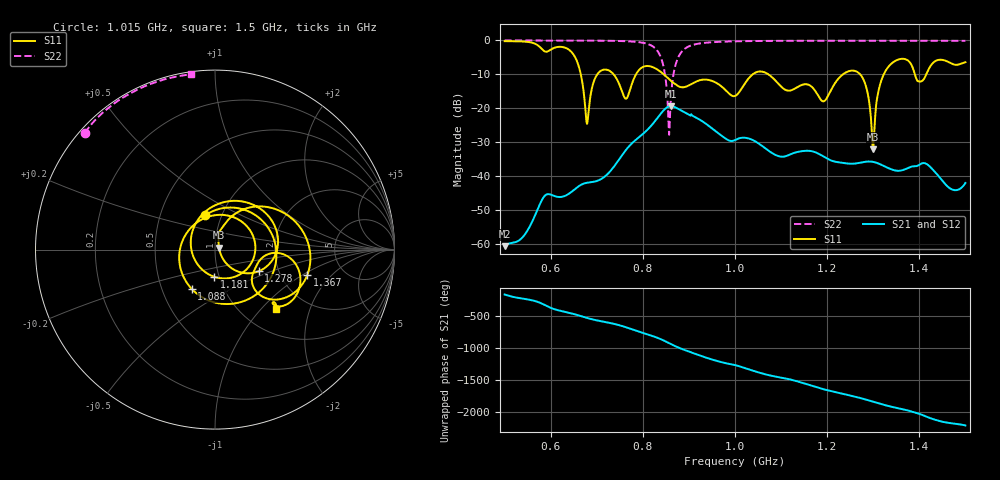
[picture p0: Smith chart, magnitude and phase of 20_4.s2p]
! TOUCHSTONE file generated by CST MICROWAVE STUDIO
! Date and time: Sat Nov 14 20:00:55 2020
! Project name: Scenario_1_Planar_Body_Tissue_Out_of_Line.cst
! Parameters = {dy1=17.3; L_HA=400; Ltissue=700; MT=2.54; Rad_Dielectric=30; Rad_Lower=7.3; Rad_Upper=30; Wtissue=700; a_HA=580; a_WG=246; b_HA=500; b_WG=121; c_HA=0; c_WG=187; d_feed=85; dx1=693; h_feed=15; h_lower=18; h_upper=40; hfat=3; hgap=25; hmuscle=50; hskin=1.5}
! Header version: 2018
! Port assignment regex: !\s*Touchstone port\s*([0-9]+)\s*=\s*(CST MWS port|CST DS port)\s*([0-9]+|Zmin|Zmax)\s*\(\"(.*)\"\)(\s*mode\s*([0-9]+))?.*
! Touchstone port assignment:
! Touchstone port 1 = CST MWS port 1 ("")
! Touchstone port 2 = CST MWS port 2 ("")
# GHz S DB R 50
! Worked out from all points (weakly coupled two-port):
!   1003 points, 500 MHz to 1.5 GHz, reference 50 ohm
!   highest |S21| = -19.42 dB at 861 MHz (marker M1); lowest = -60.7 dB at 500 MHz (marker M2)
!   lowest |S11| = -32.1 dB at 1.3 GHz (marker M3), VSWR 1.05, Z = 52.3 + j1.14 ohm
!   |S11| at or under -10 dB: 845.2 MHz to 1.039 GHz (193.3 MHz wide, 20.5 % of centre); 1.072 GHz to 1.234 GHz (162.3 MHz wide, 14.1 % of centre); 1.272 GHz to 1.323 GHz (51.39 MHz wide, 3.96 % of centre)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
!   |S22| runs from -27.8 to 0.0 dB; largest |S21 - S12| = 0.00081
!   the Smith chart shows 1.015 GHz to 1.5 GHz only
!   S11 on the Smith chart (normalised r, x): 1.015 GHz: 0.84, +0.33; 1.088 GHz: 0.71, -0.33; 1.181 GHz: 0.95, -0.29; 1.278 GHz: 1.58, -0.41; 1.367 GHz: 2.81, -1.10; 1.5 GHz: 1.41, -1.22
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0.5  -0.21 -121.5  -60.75 -170.2  -60.75 -170.2  -0.01 151.1
0.622  -1.89 173.1  -46.22 -65.8  -46.22 -65.8  -0.03 142.4
0.667  -11.13 96.4  -42.55 -150.3  -42.55 -150.3  -0.04 138.3
0.679  -24.65 148.0  -42.02 -176.3  -42.02 -176.3  -0.05 137.1
0.709  -8.95 161.3  -40.97 133.6  -40.97 133.6  -0.08 133.7
0.777  -12.54 -120.7  -30.29 5.8  -30.29 5.8  -0.32 121.0
0.834  -8.82 58.3  -22.49 -132.3  -22.49 -132.3  -3.57 82.5
0.861  -11.94 -26.3  -19.42 135.7  -19.42 135.7  -16.76 -129.4
0.888  -13.83 -134.8  -21.05 50.9  -21.05 50.9  -2.81 177.6
0.95  -11.95 4.9  -25.96 -104.9  -25.96 -104.9  -0.53 148.6
1  -16.40 176.5  -29.42 168.4  -29.42 168.4  -0.25 140.0
1.015  -14.07 106.2  -28.73 136.7  -28.73 136.7  -0.23 138.1
1.05  -9.23 -8.8  -30.30 55.6  -30.30 55.6  -0.17 134.3
1.088  -11.89 -120.6  -33.82 -11.5  -33.82 -11.5  -0.13 130.7
1.167  -13.75 -34.3  -32.72 -155.4  -32.72 -155.4  -0.09 124.1
1.181  -16.41 -91.9  -33.43 173.3  -33.43 173.3  -0.09 123.0
1.228  -10.77 69.8  -36.03 90.0  -36.03 90.0  -0.09 119.4
1.278  -11.34 -26.5  -35.93 2.2  -35.93 2.2  -0.08 115.7
1.3  -32.13 26.3  -35.87 -45.2  -35.87 -45.2  -0.08 114.0
1.334  -7.61 31.8  -37.76 -113.2  -37.76 -113.2  -0.09 111.4
1.367  -5.46 -15.2  -38.16 -165.3  -38.16 -165.3  -0.09 108.9
1.5  -6.44 -44.4  -42.07 -54.7  -42.07 -54.7  -0.12 97.8
